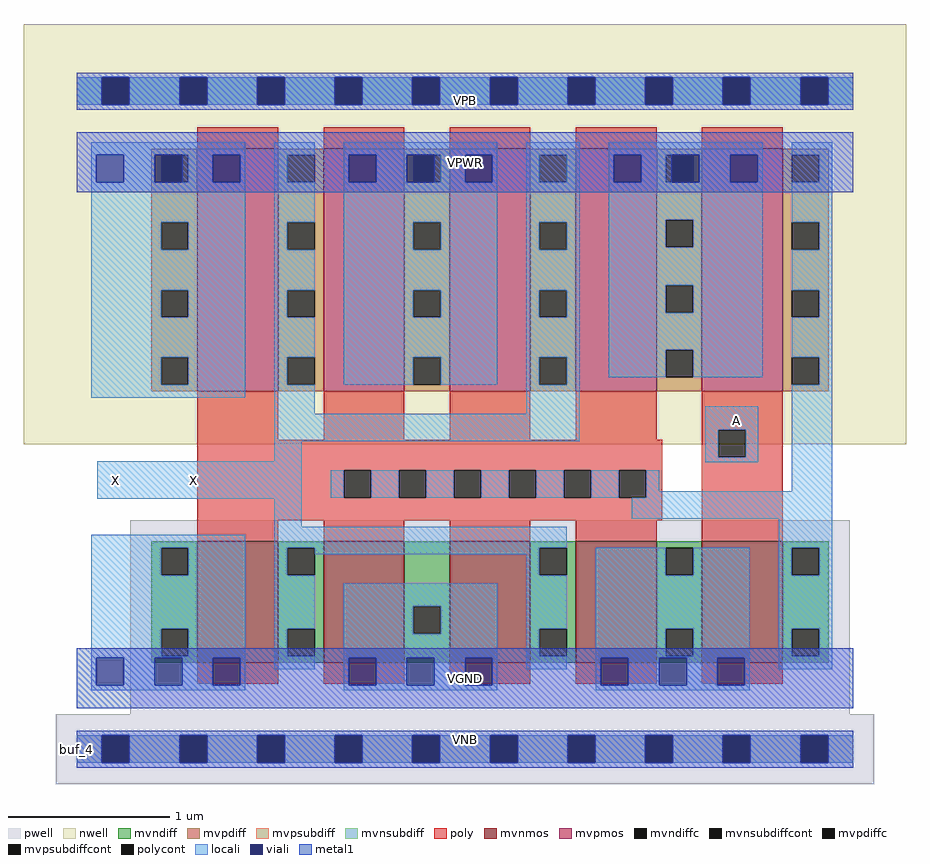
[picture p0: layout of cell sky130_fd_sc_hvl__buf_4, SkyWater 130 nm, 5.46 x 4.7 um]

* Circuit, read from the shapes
.subckt sky130_fd_sc_hvl__buf_4 A VGND VNB VPB VPWR X
XM1 X n1 VGND VNB sky130_fd_pr__nfet_g5v0d10v5 w=0.75 l=0.5 m=4
XM2 n1 A VGND VNB sky130_fd_pr__nfet_g5v0d10v5 w=0.75 l=0.5
XM3 X n1 VPWR VPB sky130_fd_pr__pfet_g5v0d10v5 w=1.5 l=0.5 m=4
XM4 n1 A VPWR VPB sky130_fd_pr__pfet_g5v0d10v5 w=1.5 l=0.5
.ends

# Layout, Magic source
magic
tech sky130B
magscale 1 2
<< nwell >>
rect -66 377 1026 897
<< pwell >>
rect 66 43 956 283
rect -26 -43 986 43
<< mvnmos >>
rect 149 107 249 257
rect 305 107 405 257
rect 461 107 561 257
rect 617 107 717 257
rect 773 107 873 257
<< mvpmos >>
rect 149 443 249 743
rect 305 443 405 743
rect 461 443 561 743
rect 617 443 717 743
rect 773 443 873 743
<< mvndiff >>
rect 92 249 149 257
rect 92 215 104 249
rect 138 215 149 249
rect 92 149 149 215
rect 92 115 104 149
rect 138 115 149 149
rect 92 107 149 115
rect 249 249 305 257
rect 249 215 260 249
rect 294 215 305 249
rect 249 149 305 215
rect 249 115 260 149
rect 294 115 305 149
rect 249 107 305 115
rect 405 177 461 257
rect 405 143 416 177
rect 450 143 461 177
rect 405 107 461 143
rect 561 249 617 257
rect 561 215 572 249
rect 606 215 617 249
rect 561 149 617 215
rect 561 115 572 149
rect 606 115 617 149
rect 561 107 617 115
rect 717 249 773 257
rect 717 215 728 249
rect 762 215 773 249
rect 717 149 773 215
rect 717 115 728 149
rect 762 115 773 149
rect 717 107 773 115
rect 873 249 930 257
rect 873 215 884 249
rect 918 215 930 249
rect 873 149 930 215
rect 873 115 884 149
rect 918 115 930 149
rect 873 107 930 115
<< mvpdiff >>
rect 92 735 149 743
rect 92 701 104 735
rect 138 701 149 735
rect 92 652 149 701
rect 92 618 104 652
rect 138 618 149 652
rect 92 568 149 618
rect 92 534 104 568
rect 138 534 149 568
rect 92 485 149 534
rect 92 451 104 485
rect 138 451 149 485
rect 92 443 149 451
rect 249 735 305 743
rect 249 701 260 735
rect 294 701 305 735
rect 249 652 305 701
rect 249 618 260 652
rect 294 618 305 652
rect 249 568 305 618
rect 249 534 260 568
rect 294 534 305 568
rect 249 485 305 534
rect 249 451 260 485
rect 294 451 305 485
rect 249 443 305 451
rect 405 735 461 743
rect 405 701 416 735
rect 450 701 461 735
rect 405 652 461 701
rect 405 618 416 652
rect 450 618 461 652
rect 405 568 461 618
rect 405 534 416 568
rect 450 534 461 568
rect 405 485 461 534
rect 405 451 416 485
rect 450 451 461 485
rect 405 443 461 451
rect 561 735 617 743
rect 561 701 572 735
rect 606 701 617 735
rect 561 652 617 701
rect 561 618 572 652
rect 606 618 617 652
rect 561 568 617 618
rect 561 534 572 568
rect 606 534 617 568
rect 561 485 617 534
rect 561 451 572 485
rect 606 451 617 485
rect 561 443 617 451
rect 717 735 773 743
rect 717 701 728 735
rect 762 701 773 735
rect 717 655 773 701
rect 717 621 728 655
rect 762 621 773 655
rect 717 574 773 621
rect 717 540 728 574
rect 762 540 773 574
rect 717 494 773 540
rect 717 460 728 494
rect 762 460 773 494
rect 717 443 773 460
rect 873 735 930 743
rect 873 701 884 735
rect 918 701 930 735
rect 873 652 930 701
rect 873 618 884 652
rect 918 618 930 652
rect 873 568 930 618
rect 873 534 884 568
rect 918 534 930 568
rect 873 485 930 534
rect 873 451 884 485
rect 918 451 930 485
rect 873 443 930 451
<< mvndiffc >>
rect 104 215 138 249
rect 104 115 138 149
rect 260 215 294 249
rect 260 115 294 149
rect 416 143 450 177
rect 572 215 606 249
rect 572 115 606 149
rect 728 215 762 249
rect 728 115 762 149
rect 884 215 918 249
rect 884 115 918 149
<< mvpdiffc >>
rect 104 701 138 735
rect 104 618 138 652
rect 104 534 138 568
rect 104 451 138 485
rect 260 701 294 735
rect 260 618 294 652
rect 260 534 294 568
rect 260 451 294 485
rect 416 701 450 735
rect 416 618 450 652
rect 416 534 450 568
rect 416 451 450 485
rect 572 701 606 735
rect 572 618 606 652
rect 572 534 606 568
rect 572 451 606 485
rect 728 701 762 735
rect 728 621 762 655
rect 728 540 762 574
rect 728 460 762 494
rect 884 701 918 735
rect 884 618 918 652
rect 884 534 918 568
rect 884 451 918 485
<< mvpsubdiff >>
rect 0 -17 31 17
rect 65 -17 127 17
rect 161 -17 223 17
rect 257 -17 319 17
rect 353 -17 415 17
rect 449 -17 511 17
rect 545 -17 607 17
rect 641 -17 703 17
rect 737 -17 799 17
rect 833 -17 895 17
rect 929 -17 960 17
<< mvnsubdiff >>
rect 0 797 31 831
rect 65 797 127 831
rect 161 797 223 831
rect 257 797 319 831
rect 353 797 415 831
rect 449 797 511 831
rect 545 797 607 831
rect 641 797 703 831
rect 737 797 799 831
rect 833 797 895 831
rect 929 797 960 831
<< mvpsubdiffcont >>
rect 31 -17 65 17
rect 127 -17 161 17
rect 223 -17 257 17
rect 319 -17 353 17
rect 415 -17 449 17
rect 511 -17 545 17
rect 607 -17 641 17
rect 703 -17 737 17
rect 799 -17 833 17
rect 895 -17 929 17
<< mvnsubdiffcont >>
rect 31 797 65 831
rect 127 797 161 831
rect 223 797 257 831
rect 319 797 353 831
rect 415 797 449 831
rect 511 797 545 831
rect 607 797 641 831
rect 703 797 737 831
rect 799 797 833 831
rect 895 797 929 831
<< poly >>
rect 149 743 249 769
rect 305 743 405 769
rect 461 743 561 769
rect 617 743 717 769
rect 773 743 873 769
rect 149 383 249 443
rect 305 383 405 443
rect 461 383 561 443
rect 617 383 717 443
rect 773 395 873 443
rect 149 345 724 383
rect 149 311 330 345
rect 364 311 398 345
rect 432 311 466 345
rect 500 311 534 345
rect 568 311 602 345
rect 636 311 670 345
rect 704 311 724 345
rect 149 283 724 311
rect 773 361 793 395
rect 827 361 873 395
rect 149 257 249 283
rect 305 257 405 283
rect 461 257 561 283
rect 617 257 717 283
rect 773 257 873 361
rect 149 81 249 107
rect 305 81 405 107
rect 461 81 561 107
rect 617 81 717 107
rect 773 81 873 107
<< polycont >>
rect 330 311 364 345
rect 398 311 432 345
rect 466 311 500 345
rect 534 311 568 345
rect 602 311 636 345
rect 670 311 704 345
rect 793 361 827 395
<< locali >>
rect 0 797 31 831
rect 65 797 127 831
rect 161 797 223 831
rect 257 797 319 831
rect 353 797 415 831
rect 449 797 511 831
rect 545 797 607 831
rect 641 797 703 831
rect 737 797 799 831
rect 833 797 895 831
rect 929 797 960 831
rect 18 735 208 751
rect 18 701 24 735
rect 58 701 96 735
rect 138 701 168 735
rect 202 701 208 735
rect 18 652 208 701
rect 18 618 104 652
rect 138 618 208 652
rect 18 568 208 618
rect 18 534 104 568
rect 138 534 208 568
rect 18 485 208 534
rect 18 451 104 485
rect 138 451 208 485
rect 18 435 208 451
rect 244 735 294 751
rect 244 701 260 735
rect 244 652 294 701
rect 244 618 260 652
rect 244 568 294 618
rect 244 534 260 568
rect 244 485 294 534
rect 244 451 260 485
rect 330 735 520 751
rect 330 701 336 735
rect 370 701 408 735
rect 450 701 480 735
rect 514 701 520 735
rect 330 652 520 701
rect 330 618 416 652
rect 450 618 520 652
rect 330 568 520 618
rect 330 534 416 568
rect 450 534 520 568
rect 330 485 520 534
rect 330 451 416 485
rect 450 451 520 485
rect 556 735 622 751
rect 556 701 572 735
rect 606 701 622 735
rect 556 652 622 701
rect 556 618 572 652
rect 606 618 622 652
rect 556 568 622 618
rect 556 534 572 568
rect 606 534 622 568
rect 556 485 622 534
rect 556 451 572 485
rect 606 451 622 485
rect 658 735 848 751
rect 658 701 664 735
rect 698 701 728 735
rect 770 701 808 735
rect 842 701 848 735
rect 658 655 848 701
rect 658 621 728 655
rect 762 621 848 655
rect 658 574 848 621
rect 658 540 728 574
rect 762 540 848 574
rect 658 494 848 540
rect 658 460 728 494
rect 762 460 848 494
rect 884 735 934 751
rect 918 701 934 735
rect 884 652 934 701
rect 918 618 934 652
rect 884 568 934 618
rect 918 534 934 568
rect 884 485 934 534
rect 244 415 294 451
rect 556 415 622 451
rect 918 451 934 485
rect 244 381 622 415
rect 777 395 843 424
rect 244 356 278 381
rect 25 310 278 356
rect 777 361 793 395
rect 827 361 843 395
rect 777 355 843 361
rect 314 311 330 345
rect 364 311 398 345
rect 432 311 466 345
rect 500 311 534 345
rect 568 311 602 345
rect 636 311 670 345
rect 704 319 720 345
rect 884 319 934 451
rect 704 311 934 319
rect 244 275 278 310
rect 686 285 934 311
rect 18 249 208 265
rect 18 215 104 249
rect 138 215 208 249
rect 18 149 208 215
rect 18 115 104 149
rect 138 115 208 149
rect 18 113 208 115
rect 18 79 24 113
rect 58 79 96 113
rect 130 79 168 113
rect 202 79 208 113
rect 244 249 606 275
rect 868 249 934 285
rect 244 215 260 249
rect 294 241 572 249
rect 244 149 294 215
rect 556 215 572 241
rect 244 115 260 149
rect 244 99 294 115
rect 330 177 520 205
rect 330 143 416 177
rect 450 143 520 177
rect 330 113 520 143
rect 18 73 208 79
rect 330 79 336 113
rect 370 79 408 113
rect 442 79 480 113
rect 514 79 520 113
rect 556 149 606 215
rect 556 115 572 149
rect 556 99 606 115
rect 642 215 728 249
rect 762 215 832 249
rect 642 149 832 215
rect 642 115 728 149
rect 762 115 832 149
rect 642 113 832 115
rect 330 73 520 79
rect 642 79 648 113
rect 682 79 720 113
rect 754 79 792 113
rect 826 79 832 113
rect 868 215 884 249
rect 918 215 934 249
rect 868 149 934 215
rect 868 115 884 149
rect 918 115 934 149
rect 868 99 934 115
rect 642 73 832 79
rect 0 -17 31 17
rect 65 -17 127 17
rect 161 -17 223 17
rect 257 -17 319 17
rect 353 -17 415 17
rect 449 -17 511 17
rect 545 -17 607 17
rect 641 -17 703 17
rect 737 -17 799 17
rect 833 -17 895 17
rect 929 -17 960 17
<< viali >>
rect 31 797 65 831
rect 127 797 161 831
rect 223 797 257 831
rect 319 797 353 831
rect 415 797 449 831
rect 511 797 545 831
rect 607 797 641 831
rect 703 797 737 831
rect 799 797 833 831
rect 895 797 929 831
rect 24 701 58 735
rect 96 701 104 735
rect 104 701 130 735
rect 168 701 202 735
rect 336 701 370 735
rect 408 701 416 735
rect 416 701 442 735
rect 480 701 514 735
rect 664 701 698 735
rect 736 701 762 735
rect 762 701 770 735
rect 808 701 842 735
rect 24 79 58 113
rect 96 79 130 113
rect 168 79 202 113
rect 336 79 370 113
rect 408 79 442 113
rect 480 79 514 113
rect 648 79 682 113
rect 720 79 754 113
rect 792 79 826 113
rect 31 -17 65 17
rect 127 -17 161 17
rect 223 -17 257 17
rect 319 -17 353 17
rect 415 -17 449 17
rect 511 -17 545 17
rect 607 -17 641 17
rect 703 -17 737 17
rect 799 -17 833 17
rect 895 -17 929 17
<< metal1 >>
rect 0 831 960 837
rect 0 797 31 831
rect 65 797 127 831
rect 161 797 223 831
rect 257 797 319 831
rect 353 797 415 831
rect 449 797 511 831
rect 545 797 607 831
rect 641 797 703 831
rect 737 797 799 831
rect 833 797 895 831
rect 929 797 960 831
rect 0 791 960 797
rect 0 735 960 763
rect 0 701 24 735
rect 58 701 96 735
rect 130 701 168 735
rect 202 701 336 735
rect 370 701 408 735
rect 442 701 480 735
rect 514 701 664 735
rect 698 701 736 735
rect 770 701 808 735
rect 842 701 960 735
rect 0 689 960 701
rect 0 113 960 125
rect 0 79 24 113
rect 58 79 96 113
rect 130 79 168 113
rect 202 79 336 113
rect 370 79 408 113
rect 442 79 480 113
rect 514 79 648 113
rect 682 79 720 113
rect 754 79 792 113
rect 826 79 960 113
rect 0 51 960 79
rect 0 17 960 23
rect 0 -17 31 17
rect 65 -17 127 17
rect 161 -17 223 17
rect 257 -17 319 17
rect 353 -17 415 17
rect 449 -17 511 17
rect 545 -17 607 17
rect 641 -17 703 17
rect 737 -17 799 17
rect 833 -17 895 17
rect 929 -17 960 17
rect 0 -23 960 -17
<< labels >>
rlabel comment s 0 0 0 0 4 buf_4
flabel metal1 s 0 51 960 125 0 FreeSans 340 0 0 0 VGND
port 2 nsew ground bidirectional
flabel metal1 s 0 0 960 23 0 FreeSans 340 0 0 0 VNB
port 3 nsew ground bidirectional
flabel metal1 s 0 689 960 763 0 FreeSans 340 0 0 0 VPWR
port 5 nsew power bidirectional
flabel metal1 s 0 791 960 814 0 FreeSans 340 0 0 0 VPB
port 4 nsew power bidirectional
flabel locali s 31 316 65 350 0 FreeSans 340 0 0 0 X
port 6 nsew signal output
flabel locali s 127 316 161 350 0 FreeSans 340 0 0 0 X
port 6 nsew signal output
flabel locali s 799 390 833 424 0 FreeSans 340 0 0 0 A
port 1 nsew signal input
<< properties >>
string FIXED_BBOX 0 0 960 814
string GDS_END 841122
string GDS_FILE $PDKPATH/libs.ref/sky130_fd_sc_hvl/gds/sky130_fd_sc_hvl.gds
string GDS_START 829916
string LEFclass CORE
string LEFsite unithv
string LEFsymmetry X Y
<< end >>
